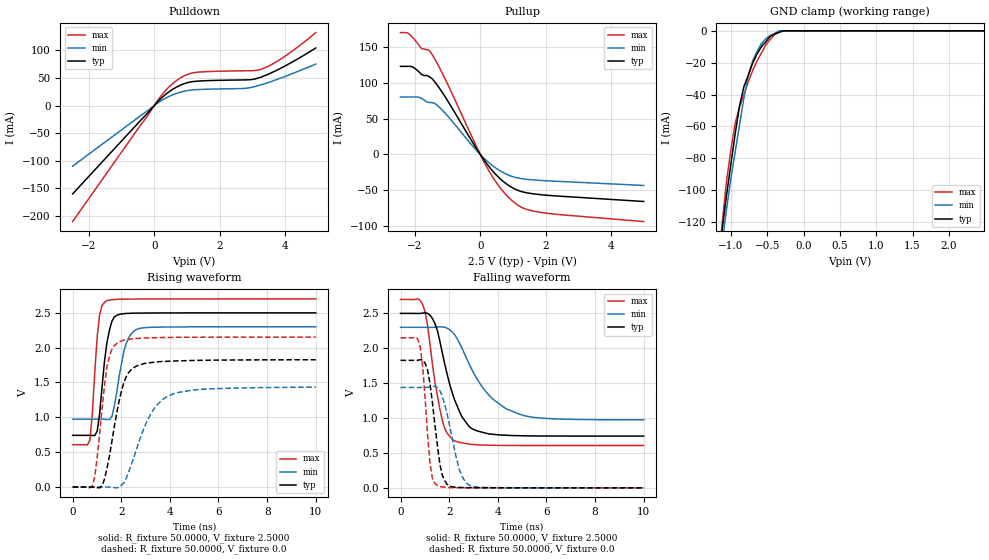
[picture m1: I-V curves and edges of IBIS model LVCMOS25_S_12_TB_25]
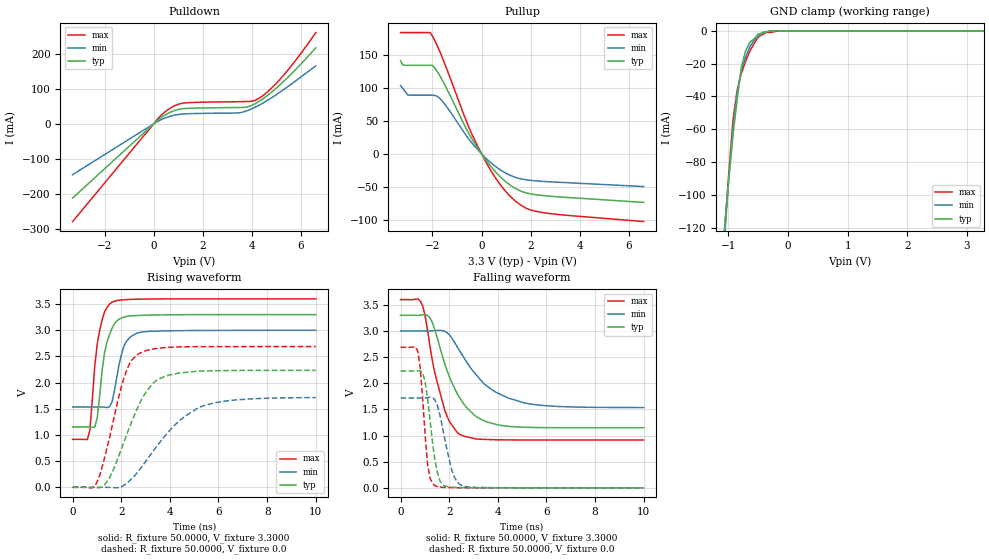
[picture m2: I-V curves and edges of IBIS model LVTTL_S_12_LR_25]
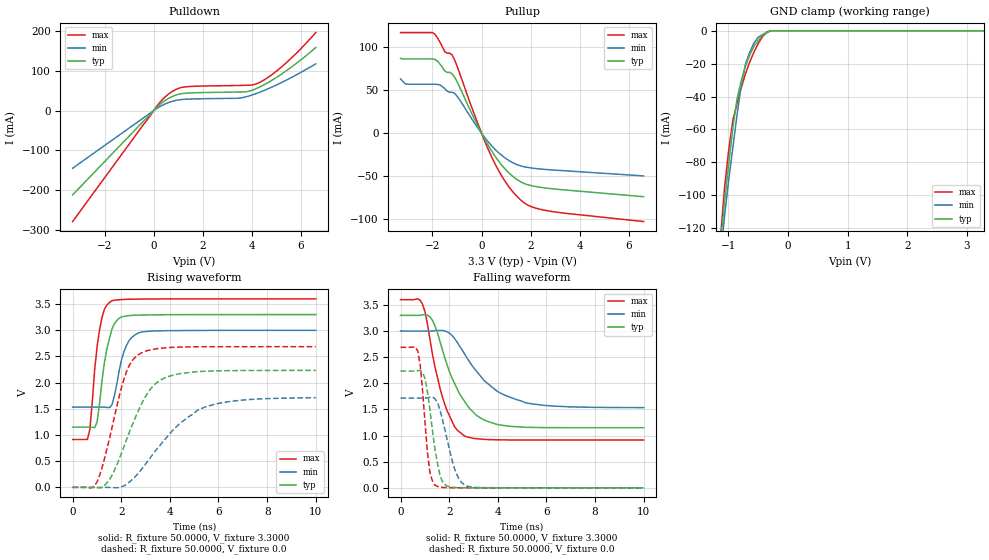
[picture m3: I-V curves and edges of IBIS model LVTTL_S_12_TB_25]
| / 7\'7
| \ \   Xilinx Inc.
| / /
| \_\/.\   IBIS Models for Spartan-3A
[IBIS ver]   3.2
[File name]   Dani_I_VGA_TopModel.ibs
[File Rev]   2.3
[Date]   Fri Feb 10 14:15:57 2017
[Source]   HSPICE simulations
[Notes]   IBIS models for Spartan-3A Platform
[Disclaimer]
|   The data in this model is derived from SPICE simulations using
|   modeling information extracted from the target process. While
|   a great deal of care has been taken to provide information
|   that is accurate, this model is considered preliminary as it
|   has not been verified by actual silicon measurement. Treat the
|   data in this model as preliminary until actual silicon
|   verification is performed.
|   To accurately model package parasitics, please follow the
|   instructions at:  http://www.xilinx.com/xlnx/
|   xil_ans_display.jsp?getPagePath=11754
|   LVDS and LVPECL drivers require the use of external
|   termination resistors to provide the correct voltage levels.
|   For more information, refer to the Spartan-3 documentation.
|   NOTE: This file is compliant with IBIS Version 3.2, but it
|   may not implement all approved 3.2 features.
|   NOTE:  Newer versions of the buffer models may be available.
|   Check the web (http://www.xilinx.com/support/sw_ibis.htm) for
|   the latest file revision.  However, please be aware that the
|   web files are not compatible for use with IBISWriter, and
|   must be manually annotated, should their use be preferred.
[Copyright]
| Copyright 2006, Xilinx Inc., All rights reserved
|   Component Spartan-3A
[Component]   Spartan-3A
[Manufacturer]   Xilinx Inc.
[Package]
| For Package Type vq100
| variable   typ   min   max
R_pkg   91.25m   83.0m   100.0m
L_pkg   4.68nH   4.0nH   5.4nH
C_pkg   0.65pF   0.6pF   0.7pF
[Pin]  signal_name   model_name
P88   VGARAM_CE   LVTTL_S_12_TB_25
P43   CLK   LVTTL_S_12_TB_25
P89   CHARRAM_CE   LVTTL_S_12_TB_25
P13   DEBUG   LVTTL_S_12_LR_25
P49   HSYNC   LVTTL_S_12_TB_25
P50   VSYNC   LVTTL_S_12_TB_25
P15   DEBUG2   LVTTL_S_12_LR_25
P20   RGB<0>   LVTTL_S_12_LR_25
P32   RGB<1>   LVTTL_S_12_TB_25
P33   RGB<2>   LVTTL_S_12_TB_25
P34   RGB<3>   LVTTL_S_12_TB_25
P35   RGB<4>   LVTTL_S_12_TB_25
P36   RGB<5>   LVTTL_S_12_TB_25
P90   RAM_WR   LVTTL_S_12_TB_25
P5   ADDR<10>   LVTTL_S_12_LR_25
P4   ADDR<11>   LVTTL_S_12_LR_25
P85   ADDR<0>   LVTTL_S_12_TB_25
P84   ADDR<1>   LVTTL_S_12_TB_25
P83   ADDR<2>   LVTTL_S_12_TB_25
P78   ADDR<3>   LVTTL_S_12_TB_25
P77   ADDR<4>   LVTTL_S_12_TB_25
P65   ADDR<5>   LVTTL_S_12_LR_25
P70   ADDR<6>   LVTTL_S_12_LR_25
P71   ADDR<7>   LVTTL_S_12_LR_25
P72   ADDR<8>   LVTTL_S_12_LR_25
P73   ADDR<9>   LVTTL_S_12_LR_25
P59   DATA<0>   LVTTL_S_12_LR_25
P60   DATA<1>   LVTTL_S_12_LR_25
P61   DATA<2>   LVTTL_S_12_LR_25
P62   DATA<3>   LVTTL_S_12_LR_25
P64   DATA<4>   LVTTL_S_12_LR_25
P57   DATA<5>   LVTTL_S_12_LR_25
P56   DATA<6>   LVTTL_S_12_LR_25
P52   DATA<7>   LVTTL_S_12_TB_25
P2   TDI   LVCMOS25_S_12_TB_25
P1   TMS   LVCMOS25_S_12_TB_25
P3   IO_L01P_3   NC
P6   IO_L02N_3   NC
P7   IP_3/VREF_3   NC
P8   GND   GND
P9   LHCLK0   NC
P10   LHCLK1   NC
P11   VCCO_3   POWER
P12   LHCLK2   NC
P14   GND   GND
P16   LHCLK7   NC
P17   VCCINT   POWER
P18   GND   GND
P19   IO_L06P_3   NC
P21   3   NC
P22   VCCAUX   POWER
P23   M1   LVCMOS25_S_12_TB_25
P25   M0   LVCMOS25_S_12_TB_25
P24   M2   LVCMOS25_S_12_TB_25
P27   CSO_B   LVCMOS25_S_12_TB_25
P26   VCCO_2   POWER
P28   RDWR_B   LVCMOS25_S_12_TB_25
P29   VS2   LVCMOS25_S_12_TB_25
P30   VS1   LVCMOS25_S_12_TB_25
P31   VS0   LVCMOS25_S_12_TB_25
P37   D4   LVCMOS25_S_12_TB_25
P38   VCCINT   POWER
P39   IP_2/VREF_2   NC
P40   GCLK14   NC
P41   GCLK15   NC
P42   GND   GND
P44   GCLK1   NC
P45   VCCO_2   POWER
P46   2/MOSI/CSI_B   NC
P47   GND   GND
P48   INIT_B   LVCMOS25_S_12_TB_25
P51   D0/DIN/MISO   LVCMOS25_S_12_TB_25
P53   CCLK   LVCMOS25_S_12_TB_25
P54   DONE   LVCMOS25_S_12_TB_25
P55   VCCAUX   POWER
P58   GND   GND
P63   GND   GND
P66   VCCINT   POWER
P67   VCCO_1   POWER
P68   IP_1/VREF_1   NC
P69   GND   GND
P74   GND   GND
P75   TDO   LVCMOS25_S_12_TB_25
P76   TCK   LVCMOS25_S_12_TB_25
P80   GND   GND
P79   VCCO_0   POWER
P81   VCCINT   POWER
P82   IP_0/VREF_0   NC
P86   GCLK7   NC
P87   GND   GND
P91   GND   GND
P92   VCCAUX   POWER
P93   IO_L05P_0   NC
P94   IO_L05N_0   NC
P96   VCCO_0   POWER
P95   GND   GND
P97   0   NC
P98   IO_L06P_0/VREF_0   NC
P99   PUDC_B   LVCMOS25_S_12_TB_25
P100   PROG_B   LVCMOS25_S_12_TB_25
| Models and submodels in the file (3): LVCMOS25_S_12_TB_25 (I/O), LVTTL_S_12_LR_25 (I/O), LVTTL_S_12_TB_25 (I/O)
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|   Model LVCMOS25_S_12_TB_25
[Model]  LVCMOS25_S_12_TB_25
Model_type I/O
Polarity   Non-Inverting
Enable   Active-Low
Vinl =   0.7000V
Vinh =   1.7000V
Vmeas =  1.2500V
Cref =   0.0F
Rref =   1.0000M
Vref =   0.0V
C_comp   6.5640pF   6.1748pF   7.0674pF
[Temperature Range]   27.0000   85.0000   0.0
[Voltage Range]   2.5000V   2.3000V   2.7000V
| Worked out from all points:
|   slope of the pulldown table from 0 to 0.375 V, typ, clamps not added: 17.4 ohm
|   slope of the pullup table from 0 to 0.375 V, typ, clamps not added: 16.4 ohm
|   GND clamp passes 1 mA (typ) near -0.34 V on its own axis
|   rising waveform, R_fixture 50.0000, V_fixture 2.5000: 20-80 % time 334ps typ, 429ps min, 247ps max; typ from 0.741 V to 2.5 V
|   rising waveform, R_fixture 50.0000, V_fixture 0.0: 20-80 % time 609ps typ, 1.02ns min, 397ps max; typ from 0 V to 1.83 V
|   falling waveform, R_fixture 50.0000, V_fixture 2.5000: 20-80 % time 840ps typ, 1.44ns min, 552ps max; typ from 2.5 V to 0.742 V
|   falling waveform, R_fixture 50.0000, V_fixture 0.0: 20-80 % time 385ps typ, 550ps min, 278ps max; typ from 1.83 V to 0 V
[Pulldown]
|Voltage   I(typ)   I(min)   I(max)
-2.5V     -159.9mA   -109.7mA   -209.9mA
140mV     9.02mA     5.955mA    12.23mA
380mV     21.73mA    14.35mA    29.41mA
620mV     31.35mA    20.65mA    42.48mA
940mV     39.99mA    26.14mA    54.42mA
1.26V     43.77mA    28.56mA    59.79mA
2.78V     46.32mA    30.97mA    62.83mA
3.02V     47.28mA    33.45mA    63.07mA
3.26V     51.27mA    37.32mA    65.38mA
3.58V     59.1mA     43.46mA    73.84mA
3.98V     70.87mA    52.08mA    88.42mA
4.94V     104.1mA    74.91mA    131.9mA
[Pullup]
|Voltage   I(typ)   I(min)   I(max)
-2.44V    123.1mA    80.33mA    170.3mA
-2.2V     123.1mA    80.33mA    169.2mA
-1.8V     111.9mA    78.39mA    148mA
-1.56V    108.7mA    72.56mA    145.5mA
-1.48V    106.1mA    72.56mA    140.2mA
-1.16V    86.53mA    61.81mA    113.4mA
200mV     -13.04mA   -8.956mA   -17.71mA
600mV     -33.58mA   -22.74mA   -46.12mA
1.08V     -48.8mA    -32.15mA   -68.56mA
1.4V      -53.38mA   -34.61mA   -76.46mA
1.96V     -56.7mA    -36.63mA   -81.69mA
5V        -65.74mA   -43.34mA   -93.79mA
[GND_clamp]
|Voltage   I(typ)   I(min)   I(max)
-2.5V     -677.7mA   -618.7mA   -772.5mA
-1.12V    -125mA     -133.4mA   -121.2mA
-1.06V    -103.6mA   -112.3mA   -94.8mA
-940mV    -64.68mA   -75.98mA   -58mA
-880mV    -47mA      -59.03mA   -48mA
-820mV    -35mA      -42.08mA   -40mA
-760mV    -28mA      -28mA      -32mA
-640mV    -14.67mA   -13mA      -19mA
-580mV    -10mA      -8mA       -14mA
-460mV    -3.5mA     -3mA       -5.5mA
-340mV    -1mA       -3fA       -1mA
2.48V     0A         0A         0A
[POWER_clamp]
|Voltage   I(typ)   I(min)   I(max)
-2.49V    0A         0A         0A
-2.46V    0A         0A         0A
-2.43V    0A         0A         0A
0V        0A         0A         0A
[Ramp]
dV/dt_r  1.0956/0.6043n   0.8604/1.0142n   1.2900/0.3974n
dV/dt_f  1.0551/0.8392n   0.7954/1.4220n   1.2559/0.5422n
R_load = 50.0000
[Rising Waveform]
R_fixture= 50.0000
V_fixture= 2.5000
V_fixture_min= 2.3000
V_fixture_max= 2.7000
|time   V(typ)   V(min)   V(max)
0s        741.4mV    973.3mV    606.9mV
710ps     741.4mV    973.3mV    674.2mV
810ps     739.7mV    973.3mV    1.046V
1.01ns    801.5mV    973.4mV    2.149V
1.11ns    1.048V     973.4mV    2.471V
1.41ns    2.069V     968.1mV    2.675V
1.72ns    2.441V     1.167V     2.691V
2.12ns    2.488V     1.965V     2.696V
2.63ns    2.495V     2.261V     2.698V
10ns      2.499V     2.299V     2.7V
[Rising Waveform]
R_fixture= 50.0000
V_fixture= 0.0
|time   V(typ)   V(min)   V(max)
0s        0V         0V         0V
810ps     298uV      -497.5nV   8.107mV
1.01ns    -9.084mV   -2.353uV   421.2mV
1.21ns    15.13mV    4.964uV    1.121V
1.41ns    264.2mV    303.1uV    1.72V
1.82ns    1.074V     -11.92mV   2.06V
2.42ns    1.686V     329.4mV    2.124V
3.13ns    1.781V     992.4mV    2.14V
3.94ns    1.805V     1.306V     2.146V
10ns      1.826V     1.434V     2.15V
[Falling Waveform]
R_fixture= 50.0000
V_fixture= 2.5000
V_fixture_min= 2.3000
V_fixture_max= 2.7000
|time   V(typ)   V(min)   V(max)
0s        2.5V       2.3V       2.7V
910ps     2.504V     2.3V       2.627V
1.11ns    2.501V     2.299V     2.334V
1.41ns    2.359V     2.301V     1.53V
1.72ns    1.932V     2.306V     963.4mV
2.22ns    1.263V     2.197V     673.5mV
2.93ns    849.6mV    1.698V     621.2mV
4.34ns    753.7mV    1.133V     607.8mV
5.76ns    743.1mV    1.001V     606.9mV
10ns      741.5mV    974.3mV    606.9mV
[Falling Waveform]
R_fixture= 50.0000
V_fixture= 0.0
|time   V(typ)   V(min)   V(max)
0s        1.827V     1.439V     2.15V
810ps     1.836V     1.439V     2.018V
910ps     1.834V     1.439V     1.742V
1.21ns    1.498V     1.445V     359.5mV
1.52ns    598.7mV    1.436V     31.89mV
1.72ns    181mV      1.308V     11.63mV
1.92ns    48.9mV     1.05V      6.942mV
2.42ns    5.543mV    259.6mV    1.61mV
2.83ns    2.931mV    39.68mV    791.3uV
10ns      5.195uV    41.11uV    -3.669uV
|   Model LVTTL_S_12_LR_25
[Model]  LVTTL_S_12_LR_25
Model_type I/O
Polarity   Non-Inverting
Enable   Active-Low
Vinl =   0.8000V
Vinh =   2.0000V
Vmeas =  1.4000V
Cref =   0.0F
Rref =   1.0000M
Vref =   0.0V
C_comp   6.5640pF   6.1748pF   7.0674pF
[Temperature Range]   27.0000   85.0000   0.0
[Voltage Range]   3.3000V   3.0000V   3.6000V
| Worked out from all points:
|   slope of the pulldown table from 0 to 0.495 V, typ, clamps not added: 18.5 ohm
|   slope of the pullup table from 0 to 0.495 V, typ, clamps not added: 20.3 ohm
|   GND clamp passes 1 mA (typ) near -0.38 V on its own axis
|   rising waveform, R_fixture 50.0000, V_fixture 3.3000: 20-80 % time 409ps typ, 408ps min, 374ps max; typ from 1.15 V to 3.3 V
|   rising waveform, R_fixture 50.0000, V_fixture 0.0: 20-80 % time 1.2ns typ, 1.91ns min, 857ps max; typ from 0 V to 2.23 V
|   falling waveform, R_fixture 50.0000, V_fixture 3.3000: 20-80 % time 1.13ns typ, 1.61ns min, 753ps max; typ from 3.3 V to 1.15 V
|   falling waveform, R_fixture 50.0000, V_fixture 0.0: 20-80 % time 365ps typ, 479ps min, 263ps max; typ from 2.23 V to 0 V
[Pulldown]
|Voltage   I(typ)   I(min)   I(max)
-3.3V     -212.6mA   -145.5mA   -279.8mA
100mV     6.571mA    4.336mA    8.91mA
500mV     26.9mA     17.74mA    36.42mA
900mV     39.16mA    25.63mA    53.26mA
1.2V      43.4mA     28.3mA     59.28mA
3.5V      46.93mA    31.79mA    63.53mA
3.8V      48.22mA    37.54mA    64mA
4.2V      60.46mA    50.03mA    69.59mA
4.7V      84.98mA    70.18mA    95.75mA
5.2V      115.5mA    93.53mA    132mA
5.9V      164.3mA    129.2mA    192.8mA
6.6V      217.7mA    165.9mA    261.4mA
[Pullup]
|Voltage   I(typ)   I(min)   I(max)
-3.3V     140.7mA    103.2mA    183.2mA
-3.2V     134.1mA    98.39mA    183.2mA
-3V       133.8mA    88.85mA    183.2mA
-2.1V     133.8mA    88.49mA    183.2mA
-2V       133.4mA    88.49mA    177.9mA
-1.6V     111.3mA    79.64mA    145.4mA
-600mV    36.16mA    26.33mA    47.45mA
0V        14pA       70pA       80pA
700mV     -32.61mA   -22.77mA   -43.62mA
1.5V      -54.81mA   -37.04mA   -75.06mA
2.6V      -63.56mA   -42.02mA   -89.5mA
6.6V      -73.58mA   -49.56mA   -102.5mA
[GND_clamp]
|Voltage   I(typ)   I(min)   I(max)
-3.3V     -1.34A     -1.43A     -1.52A
-1.06V    -119.5mA   -126.2mA   -121mA
-990mV    -90.2mA    -89.8mA    -86.5mA
-920mV    -63.3mA    -60mA      -54.4mA
-850mV    -41.9mA    -37.7mA    -36mA
-780mV    -22mA      -24mA      -25.9mA
-710mV    -12.3mA    -16.3mA    -18.8mA
-640mV    -7mA       -9.8mA     -12.5mA
-500mV    -2mA       -3.5mA     -4mA
-430mV    -1.4mA     -1mA       -2.3mA
-150mV    0A         0A         0A
3.28V     0A         0A         0A
[POWER_clamp]
|Voltage   I(typ)   I(min)   I(max)
-3.28V    0A         0A         0A
-3.24V    0A         0A         0A
-3.2V     0A         0A         0A
0V        0A         0A         0A
[Ramp]
dV/dt_r  1.3404/1.1918n   1.0284/1.8943n   1.6128/0.8465n
dV/dt_f  1.2900/1.1207n   0.8790/1.5902n   1.6110/0.7429n
R_load = 50.0000
[Rising Waveform]
R_fixture= 50.0000
V_fixture= 3.3000
V_fixture_min= 3.0000
V_fixture_max= 3.6000
|time   V(typ)   V(min)   V(max)
0s        1.15V      1.534V     915.2mV
610ps     1.15V      1.534V     910.9mV
710ps     1.15V      1.534V     1.094V
910ps     1.151V     1.534V     2.313V
1.01ns    1.316V     1.534V     2.726V
1.21ns    2.214V     1.534V     3.188V
1.62ns    3.038V     1.628V     3.535V
2.12ns    3.25V      2.707V     3.582V
2.63ns    3.28V      2.941V     3.592V
10ns      3.299V     2.999V     3.599V
[Rising Waveform]
R_fixture= 50.0000
V_fixture= 0.0
|time   V(typ)   V(min)   V(max)
0s        0V         0V         0V
810ps     -206.4uV   -849.4nV   -9.797mV
1.01ns    -8.508mV   -4.176uV   105.5mV
1.52ns    183.7mV    -2.656mV   950.8mV
2.12ns    874.2mV    38.02mV    2.101V
2.42ns    1.246V     162.7mV    2.423V
2.73ns    1.576V     322mV      2.552V
3.43ns    2.033V     765.8mV    2.65V
5.15ns    2.216V     1.516V     2.686V
10ns      2.234V     1.714V     2.688V
[Falling Waveform]
R_fixture= 50.0000
V_fixture= 3.3000
V_fixture_min= 3.0000
V_fixture_max= 3.6000
|time   V(typ)   V(min)   V(max)
0s        3.3V       3V         3.6V
710ps     3.299V     3V         3.614V
910ps     3.311V     3V         3.478V
1.31ns    3.161V     3.003V     2.428V
1.82ns    2.373V     2.994V     1.484V
2.42ns    1.731V     2.627V     1.026V
3.43ns    1.284V     1.991V     927.1mV
4.44ns    1.178V     1.716V     916.6mV
6.06ns    1.152V     1.568V     915.1mV
10ns      1.15V      1.535V     915mV
[Falling Waveform]
R_fixture= 50.0000
V_fixture= 0.0
|time   V(typ)   V(min)   V(max)
0s        2.234V     1.718V     2.688V
710ps     2.24V      1.718V     2.615V
810ps     2.238V     1.718V     2.294V
1.01ns    2.031V     1.719V     1.026V
1.11ns    1.72V      1.725V     467mV
1.41ns    547.6mV    1.686V     41.08mV
1.72ns    66.05mV    1.174V     11.22mV
2.12ns    11.86mV    320.7mV    3.883mV
2.53ns    5.21mV     42.39mV    793.1uV
10ns      -4.342uV   23.06uV    46.7uV
|   Model LVTTL_S_12_TB_25
[Model]  LVTTL_S_12_TB_25
Model_type I/O
Polarity   Non-Inverting
Enable   Active-Low
Vinl =   0.8000V
Vinh =   2.0000V
Vmeas =  1.4000V
Cref =   0.0F
Rref =   1.0000M
Vref =   0.0V
C_comp   6.5640pF   6.1748pF   7.0674pF
[Temperature Range]   27.0000   85.0000   0.0
[Voltage Range]   3.3000V   3.0000V   3.6000V
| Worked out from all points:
|   slope of the pulldown table from 0 to 0.495 V, typ, clamps not added: 18.5 ohm
|   slope of the pullup table from 0 to 0.495 V, typ, clamps not added: 20.3 ohm
|   GND clamp passes 1 mA (typ) near -0.34 V on its own axis
|   rising waveform, R_fixture 50.0000, V_fixture 3.3000: 20-80 % time 429ps typ, 460ps min, 355ps max; typ from 1.15 V to 3.3 V
|   rising waveform, R_fixture 50.0000, V_fixture 0.0: 20-80 % time 1.23ns typ, 2.01ns min, 867ps max; typ from 0 V to 2.23 V
|   falling waveform, R_fixture 50.0000, V_fixture 3.3000: 20-80 % time 1.16ns typ, 1.61ns min, 807ps max; typ from 3.3 V to 1.15 V
|   falling waveform, R_fixture 50.0000, V_fixture 0.0: 20-80 % time 407ps typ, 553ps min, 295ps max; typ from 2.23 V to 0 V
[Pulldown]
|Voltage   I(typ)   I(min)   I(max)
-3.3V     -212.6mA   -145.4mA   -279.9mA
100mV     6.571mA    4.336mA    8.91mA
600mV     30.66mA    20.2mA     41.53mA
1V        41.08mA    26.82mA    55.98mA
1.3V      43.98mA    28.7mA     60.07mA
3.5V      46.93mA    31.6mA     63.53mA
3.8V      47.92mA    35.46mA    64mA
4.2V      56.16mA    43.6mA     67.99mA
4.6V      68.73mA    53.56mA    81.47mA
5.2V      91.95mA    70.73mA    109.9mA
6V        128.4mA    96.7mA     156.7mA
6.6V      159.2mA    117.9mA    196.9mA
[Pullup]
|Voltage   I(typ)   I(min)   I(max)
-3.3V     86.85mA    63.05mA    116.8mA
-3.1V     86.22mA    57.11mA    116.8mA
-2V       86.22mA    56.87mA    116.8mA
-1.5V     72.34mA    51.71mA    94.74mA
-1.2V     68.94mA    47.54mA    90.95mA
-1V       59.87mA    43.07mA    78.02mA
0V        22pA       110pA      30pA
500mV     -24.59mA   -17.26mA   -32.77mA
1.1V      -45.66mA   -31.45mA   -61.68mA
1.7V      -57.91mA   -38.69mA   -80.08mA
2.8V      -64.23mA   -42.45mA   -90.52mA
6.6V      -73.66mA   -49.56mA   -102.5mA
[GND_clamp]
|Voltage   I(typ)   I(min)   I(max)
-3.3V     -1A        -900mA     -1.15A
-1.13V    -128.6mA   -136.9mA   -126mA
-1.06V    -103.6mA   -112.3mA   -94.8mA
-990mV    -80.74mA   -90.11mA   -72mA
-920mV    -58.26mA   -70.33mA   -54mA
-850mV    -41mA      -50.55mA   -44mA
-780mV    -30mA      -32.5mA    -34.5mA
-710mV    -21.5mA    -20.25mA   -26mA
-570mV    -9.5mA     -7.5mA     -13mA
-430mV    -2.75mA    -2.4mA     -3.625mA
-360mV    -1.333mA   -1mA       -1mA
3.28V     0A         0A         0A
[POWER_clamp]
|Voltage   I(typ)   I(min)   I(max)
-3.28V    0A         0A         0A
-3.24V    0A         0A         0A
-3.2V     0A         0A         0A
0V        0A         0A         0A
[Ramp]
dV/dt_r  1.3404/1.2228n   1.0272/1.9942n   1.6128/0.8567n
dV/dt_f  1.2900/1.1500n   0.8790/1.5935n   1.6111/0.7969n
R_load = 50.0000
[Rising Waveform]
R_fixture= 50.0000
V_fixture= 3.3000
V_fixture_min= 3.0000
V_fixture_max= 3.6000
|time   V(typ)   V(min)   V(max)
0s        1.15V      1.534V     914.9mV
610ps     1.15V      1.534V     916.4mV
710ps     1.15V      1.534V     1.106V
910ps     1.14V      1.534V     2.26V
1.01ns    1.259V     1.534V     2.696V
1.21ns    2.043V     1.534V     3.247V
1.62ns    3.026V     1.579V     3.566V
2.12ns    3.267V     2.603V     3.589V
2.73ns    3.29V      2.952V     3.596V
10ns      3.3V       2.999V     3.6V
[Rising Waveform]
R_fixture= 50.0000
V_fixture= 0.0
|time   V(typ)   V(min)   V(max)
0s        0V         0V         0V
810ps     -29.35uV   0V         -6.161mV
1.01ns    -6.995mV   -3.257uV   110.9mV
1.52ns    152.6mV    -1.53mV    934.1mV
2.12ns    789.5mV    30.13mV    2.081V
2.42ns    1.155V     136.5mV    2.401V
2.73ns    1.491V     284.7mV    2.542V
3.64ns    2.056V     829.7mV    2.657V
5.25ns    2.214V     1.496V     2.686V
10ns      2.234V     1.712V     2.688V
[Falling Waveform]
R_fixture= 50.0000
V_fixture= 3.3000
V_fixture_min= 3.0000
V_fixture_max= 3.6000
|time   V(typ)   V(min)   V(max)
0s        3.3V       3V         3.6V
910ps     3.31V      3V         3.507V
1.31ns    3.206V     3.001V     2.566V
1.72ns    2.644V     3.01V      1.741V
2.22ns    2V         2.858V     1.172V
2.63ns    1.657V     2.565V     991.9mV
3.13ns    1.384V     2.229V     940.3mV
3.94ns    1.217V     1.86V      919.6mV
5.15ns    1.159V     1.627V     915.2mV
10ns      1.15V      1.535V     914.9mV
[Falling Waveform]
R_fixture= 50.0000
V_fixture= 0.0
|time   V(typ)   V(min)   V(max)
0s        2.234V     1.718V     2.688V
710ps     2.24V      1.718V     2.617V
810ps     2.247V     1.718V     2.352V
1.01ns    2.081V     1.718V     1.229V
1.21ns    1.493V     1.732V     291.7mV
1.41ns    759.3mV    1.709V     53.31mV
1.72ns    123.3mV    1.32V      8.486mV
2.22ns    8.971mV    369.7mV    1.782mV
2.73ns    2.888mV    34mV       512.4uV
10ns      809.7nV    55.21uV    1.681uV
